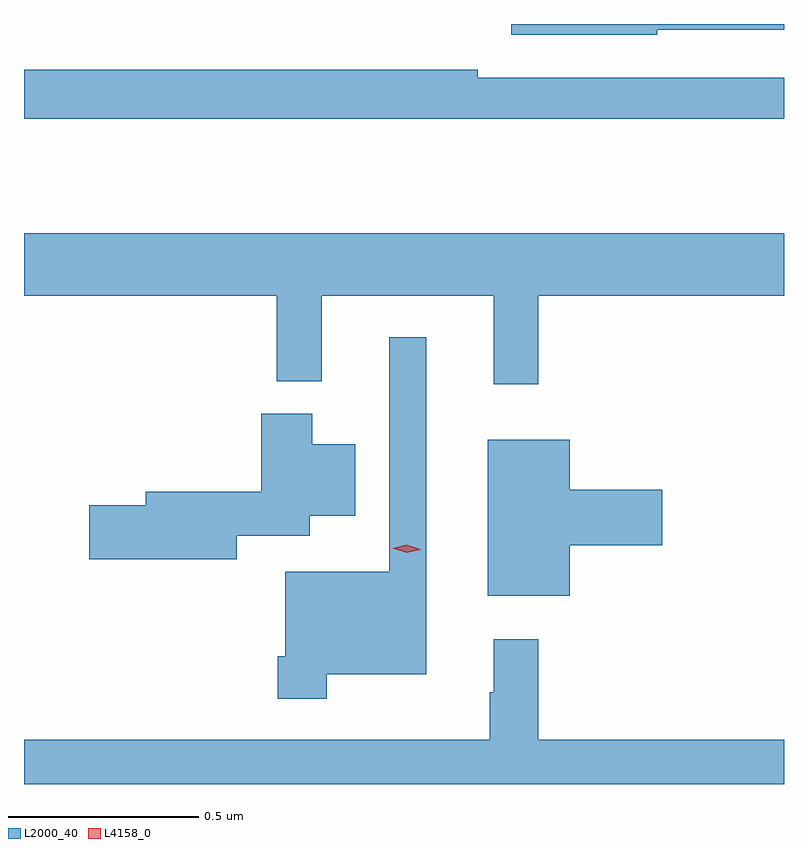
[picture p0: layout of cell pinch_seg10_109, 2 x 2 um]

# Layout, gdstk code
import gdstk
lib = gdstk.Library(unit=1e-6, precision=1e-09)
def P(c, l, *ps):  # polygons
    for p in ps: c.add(gdstk.Polygon(p, *l))
L2000_40 = (2000, 40)
L4158_0 = (4158, 0)

pinch_seg10_109 = lib.new_cell('pinch_seg10_109')
P(pinch_seg10_109, L2000_40, [(678.096,1318.332),(678.43,1318.332),(678.43,1318.347),(677.712,1318.347),(677.712,1318.319),(678.096,1318.319)],
  [(678.43,1318.206),(677.624,1318.206),(677.624,1318.226),(676.43,1318.226),(676.43,1318.098),(678.43,1318.098)],
  [(677.783,1317.632),(678.43,1317.632),(678.43,1317.796),(676.43,1317.796),(676.43,1317.632),(677.095,1317.632),(677.095,1317.407),(677.213,1317.407),(677.213,1317.632),(677.666,1317.632),(677.666,1317.399),(677.783,1317.399)],
  [(677.227,1316.636),(677.488,1316.636),(677.488,1317.523),(677.391,1317.523),(677.391,1316.905),(677.118,1316.905),(677.118,1316.683),(677.098,1316.683),(677.098,1316.571),(677.227,1316.571)],
  [(676.99,1317),(677.182,1317),(677.182,1317.053),(677.302,1317.053),(677.302,1317.241),(677.188,1317.241),(677.188,1317.322),(677.054,1317.322),(677.054,1317.116),(676.751,1317.116),(676.751,1317.08),(676.602,1317.08),(676.602,1316.938),(676.99,1316.938)],
  [(677.866,1316.975),(678.109,1316.975),(678.109,1317.122),(677.866,1317.122),(677.866,1317.253),(677.651,1317.253),(677.651,1316.843),(677.866,1316.843)],
  [(678.43,1316.464),(677.783,1316.464),(677.783,1316.728),(677.666,1316.728),(677.666,1316.588),(677.655,1316.588),(677.655,1316.464),(676.43,1316.464),(676.43,1316.347),(678.43,1316.347)])
P(pinch_seg10_109, L4158_0, [(677.437,1316.956),(677.401,1316.967),(677.401,1316.967),(677.401,1316.967),(677.437,1316.976),(677.473,1316.965),(677.473,1316.964),(677.473,1316.964)])

lib.write_gds('pinch_seg10_109.gds')
